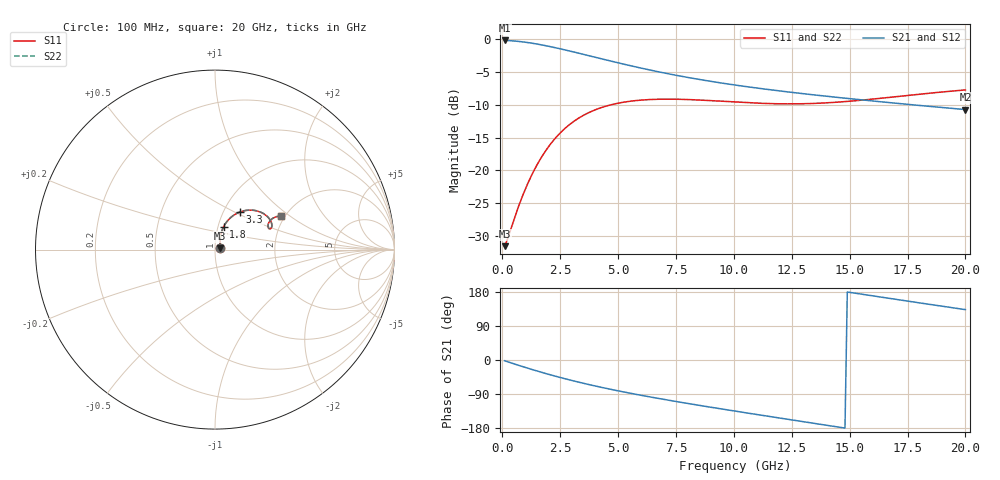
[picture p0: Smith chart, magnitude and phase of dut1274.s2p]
! Touchstone file exported from HFSS 2024.1.0
!  File:  C:/UserFiles/LocalFiles/RDL_TSV_Batchsim/temp_RDL_TSV_1274_1780275537.aedt
!  Generated:  09:14:01 AM Jun  1, 2026
!  Design:  RDL_TSV
!  Project:  temp_RDL_TSV_1274_1780275537
!  Setup:  Setup1
!  Solution:  Sweep
! Variables:
!  dtsv = 10.52um
!  hbump = 3um
!  htsv = 73.43um
!  ldown = 650.9um
!  lrdl = 319.67um
!  p = 40
!  p1 = 53.93um
!  rhole = 10um
!  subl = 3231.38um
!  t = 450um
!  tdown = 4.44um
!  trdl = 2.25um
!  viad = 10um
!  wdown = 15.1um
!  wrdl = 12.98um
!  xbump = 18um
# GHz S MA R 50.000000
! Terminal data exported
! Port[1] = TM1_1_T1
! Port[2] = TM1_4_T1
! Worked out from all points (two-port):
!   200 points, 100 MHz to 20 GHz, reference 50 ohm
!   highest |S21| = -0.23 dB at 100 MHz (marker M1); lowest = -10.7 dB at 20 GHz (marker M2)
!   |S21| within 3 dB of the highest: start of sweep to 4.529 GHz
!   lowest |S11| = -31.5 dB at 100 MHz (marker M3), VSWR 1.05, Z = 52.6 + j0.709 ohm
!   |S11| at or under -10 dB: start of sweep to 4.707 GHz
!   |S22| runs from -31.5 to -7.7 dB; largest |S21 - S12| = 1.3e-13
!   S11 on the Smith chart (normalised r, x): 100 MHz: 1.05, +0.01; 1.8 GHz: 1.06, +0.27; 3.3 GHz: 1.19, +0.53; 20 GHz: 1.90, +0.85
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0.1  0.02658 14.7  0.974 -2.0  0.974 -2.0  0.02658 14.7
! Gamma 0 0 0 0
! Port Impedance 50 0 50 0
0.2  0.0293 27.0  0.9727 -4.1  0.9727 -4.1  0.0293 27.0
0.5  0.04227 49.8  0.9653 -10.1  0.9653 -10.1  0.04226 49.8
1  0.07255 65.7  0.9442 -19.8  0.9442 -19.8  0.07255 65.7
1.4  0.1025 69.5  0.9212 -27.2  0.9212 -27.2  0.1025 69.5
1.8  0.1352 69.3  0.8942 -34.4  0.8942 -34.4  0.1353 69.4
2.1  0.1603 67.8  0.8723 -39.5  0.8723 -39.5  0.1604 67.8
2.5  0.1929 64.5  0.8418 -46.1  0.8418 -46.1  0.193 64.6
3.3  0.2502 56.6  0.7795 -58.5  0.7795 -58.5  0.2505 56.7
3.5  0.2623 54.5  0.7641 -61.4  0.7641 -61.4  0.2627 54.6
4.2  0.2975 47.6  0.7125 -71.1  0.7125 -71.1  0.298 47.7
5.1  0.3272 39.8  0.6522 -82.6  0.6522 -82.6  0.3278 39.9
5.9  0.3417 34.0  0.6053 -92.1  0.6053 -92.1  0.3423 34.1
6.8  0.3482 28.9  0.56 -102.0  0.56 -102.0  0.3489 29.0
8.4  0.344 23.0  0.4958 -118.6  0.4958 -118.6  0.3448 23.0
10.1  0.3311 20.6  0.445 -135.3  0.445 -135.3  0.3319 20.7
11.7  0.3221 21.4  0.4082 -150.6  0.4082 -150.6  0.3229 21.5
13.4  0.3232 24.1  0.3766 -166.6  0.3766 -166.6  0.324 24.2
15  0.3361 26.7  0.3516 178.5  0.3516 178.5  0.337 26.8
16.7  0.3593 28.3  0.3283 162.8  0.3283 162.8  0.3603 28.4
18.4  0.3861 28.2  0.3077 147.3  0.3077 147.3  0.3872 28.3
20  0.4096 26.9  0.2906 132.9  0.2906 132.9  0.4107 27.0
